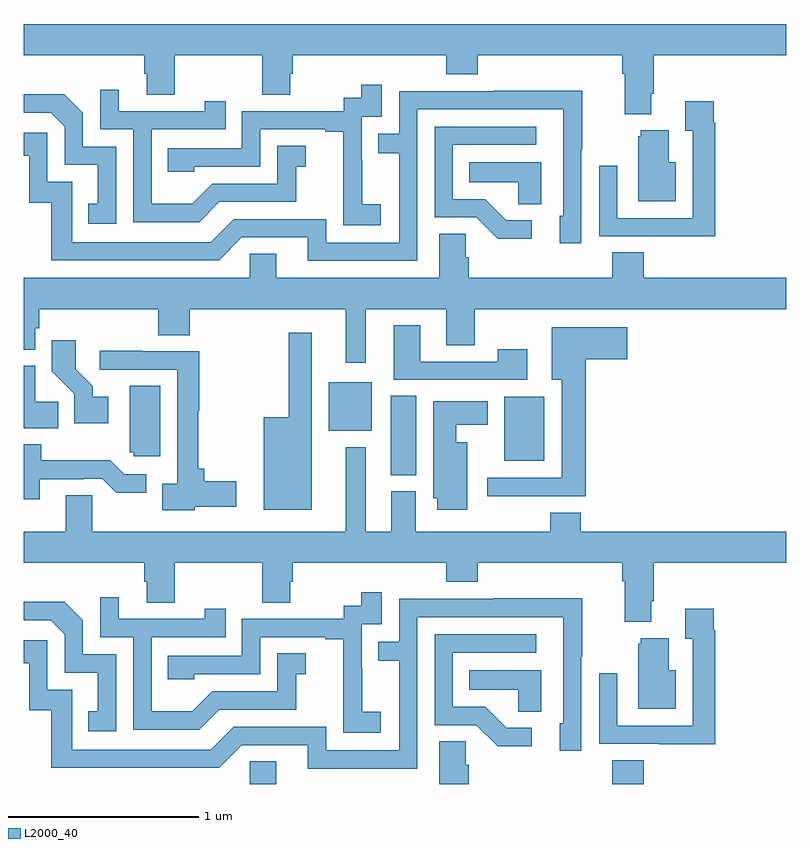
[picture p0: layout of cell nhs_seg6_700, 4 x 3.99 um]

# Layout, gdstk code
import gdstk
lib = gdstk.Library(unit=1e-6, precision=1e-09)
def R(c, l, rs):  # rectangles x0, y0, x1, y1
    for r in rs: c.add(gdstk.rectangle(r[:2], r[2:], *l))
def P(c, l, *ps):  # polygons
    for p in ps: c.add(gdstk.Polygon(p, *l))
L2000_40 = (2000, 40)

nhs_seg6_700 = lib.new_cell('nhs_seg6_700')
R(nhs_seg6_700, L2000_40, [(156.186,955.5,156.325,955.619), (158.087,955.5,158.252,955.625), (156.926,957.121,157.06,957.536), (157.52,957.197,157.732,957.532), (156.599,957.353,156.826,957.607)])
P(nhs_seg6_700, L2000_40, [(155,959.324),(155.633,959.324),(155.633,959.226),(155.645,959.226),(155.645,959.116),(155.793,959.116),(155.793,959.324),(156.25,959.324),(156.25,959.116),(156.397,959.116),(156.397,959.226),(156.41,959.226),(156.41,959.324),(157.217,959.324),(157.217,959.225),(157.382,959.225),(157.382,959.324),(158.141,959.324),(158.141,959.228),(158.153,959.228),(158.153,959.015),(158.293,959.015),(158.293,959.122),(158.306,959.122),(158.306,959.324),(159,959.324),(159,959.488),(155,959.488)],
  [(156.874,958.543),(156.776,958.543),(156.776,958.772),(156.774,958.772),(156.774,959.001),(156.879,959.001),(156.879,959.17),(156.771,959.17),(156.771,959.1),(156.678,959.1),(156.678,959.031),(156.144,959.031),(156.144,958.836),(155.755,958.836),(155.755,958.713),(155.895,958.713),(155.895,958.74),(156.24,958.74),(156.24,958.935),(156.581,958.935),(156.581,958.923),(156.677,958.923),(156.677,958.639),(156.676,958.639),(156.676,958.433),(156.874,958.433)],
  [(156.025,958.554),(156.429,958.554),(156.429,958.739),(156.478,958.739),(156.478,958.849),(156.33,958.849),(156.33,958.65),(155.988,958.65),(155.884,958.546),(155.67,958.546),(155.67,958.935),(156.059,958.935),(156.059,959.083),(155.948,959.083),(155.948,959.031),(155.497,959.031),(155.497,959.143),(155.4,959.143),(155.4,958.935),(155.574,958.935),(155.574,958.449),(155.92,958.449)],
  [(157.065,959.04),(157.83,959.04),(157.83,958.482),(157.811,958.482),(157.811,958.338),(157.926,958.338),(157.926,958.831),(157.929,958.831),(157.929,959.138),(157.465,959.138),(157.465,959.136),(156.969,959.136),(156.969,958.911),(156.859,958.911),(156.859,958.81),(156.969,958.81),(156.969,958.341),(156.588,958.341),(156.588,958.464),(156.102,958.464),(155.982,958.344),(155.253,958.344),(155.253,958.659),(155.124,958.659),(155.124,958.918),(155,958.918),(155,958.797),(155.027,958.797),(155.027,958.551),(155.145,958.551),(155.145,958.248),(156.024,958.248),(156.144,958.368),(156.491,958.368),(156.491,958.245),(157.065,958.245)],
  [(155.484,958.845),(155.31,958.845),(155.31,959.022),(155.212,959.12),(155,959.12),(155,959.022),(155.142,959.022),(155.214,958.95),(155.214,958.749),(155.387,958.749),(155.387,958.545),(155.338,958.545),(155.338,958.44),(155.484,958.44)],
  [(158.627,958.97),(158.62,958.97),(158.62,959.083),(158.471,959.083),(158.471,958.927),(158.511,958.927),(158.511,958.47),(158.115,958.47),(158.115,958.744),(158.019,958.744),(158.019,958.374),(158.335,958.374),(158.335,958.373),(158.627,958.373)],
  [(157.666,958.458),(157.531,958.458),(157.42,958.569),(157.251,958.569),(157.251,958.854),(157.69,958.854),(157.69,958.95),(157.155,958.95),(157.155,958.473),(157.374,958.473),(157.487,958.361),(157.666,958.361)],
  [(158.422,958.762),(158.383,958.762),(158.383,958.93),(158.237,958.93),(158.237,958.899),(158.225,958.899),(158.225,958.559),(158.422,958.559)],
  [(157.714,958.762),(157.336,958.762),(157.336,958.658),(157.593,958.658),(157.593,958.543),(157.714,958.543)],
  [(157.181,958.388),(157.181,958.156),(156.325,958.156),(156.325,958.283),(156.186,958.283),(156.186,958.156),(155,958.156),(155,957.779),(155.061,957.779),(155.061,957.891),(155.081,957.891),(155.081,957.992),(155.705,957.992),(155.705,957.856),(155.87,957.856),(155.87,957.992),(156.689,957.992),(156.689,957.711),(156.793,957.711),(156.793,957.992),(157.217,957.992),(157.217,957.802),(157.365,957.802),(157.365,957.992),(159,957.992),(159,958.156),(158.252,958.156),(158.252,958.289),(158.087,958.289),(158.087,958.156),(157.334,958.156),(157.334,958.265),(157.32,958.265),(157.32,958.388)],
  [(157.642,957.781),(157.486,957.781),(157.486,957.717),(157.081,957.717),(157.081,957.907),(156.941,957.907),(156.941,957.621),(157.642,957.621)],
  [(157.949,957.728),(158.167,957.728),(158.167,957.898),(157.769,957.898),(157.769,957.62),(157.823,957.62),(157.823,957.108),(157.431,957.108),(157.431,957.011),(157.949,957.011)],
  [(156.511,957.868),(156.39,957.868),(156.39,957.424),(156.26,957.424),(156.26,956.939),(156.511,956.939)],
  [(155.443,957.532),(155.362,957.532),(155.362,957.587),(155.272,957.677),(155.272,957.829),(155.146,957.829),(155.146,957.666),(155.265,957.547),(155.265,957.392),(155.443,957.392)],
  [(155.898,956.954),(156.115,956.954),(156.115,957.089),(155.946,957.089),(155.946,957.154),(155.914,957.154),(155.914,957.459),(155.921,957.459),(155.921,957.771),(155.621,957.771),(155.621,957.774),(155.397,957.774),(155.397,957.675),(155.805,957.675),(155.805,957.076),(155.726,957.076),(155.726,956.936),(155.898,956.936)],
  [(155.18,957.506),(155.059,957.506),(155.059,957.694),(155,957.694),(155,957.368),(155.18,957.368)],
  [(155.716,957.589),(155.555,957.589),(155.555,957.24),(155.577,957.24),(155.577,957.219),(155.716,957.219)],
  [(157.327,957.292),(157.27,957.292),(157.27,957.386),(157.435,957.386),(157.435,957.508),(157.148,957.508),(157.148,957),(157.169,957),(157.169,956.94),(157.327,956.94)],
  [(155.083,957.099),(155.312,957.099),(155.312,957.102),(155.412,957.102),(155.485,957.029),(155.641,957.029),(155.641,957.126),(155.526,957.126),(155.453,957.199),(155.091,957.199),(155.091,957.283),(155,957.283),(155,956.994),(155.083,956.994)],
  [(158.293,956.458),(158.306,956.458),(158.306,956.66),(159,956.66),(159,956.824),(157.922,956.824),(157.922,956.923),(157.762,956.923),(157.762,956.824),(157.057,956.824),(157.057,957.036),(156.929,957.036),(156.929,956.824),(156.793,956.824),(156.793,957.268),(156.689,957.268),(156.689,956.824),(155.358,956.824),(155.358,957.014),(155.219,957.014),(155.219,956.824),(155,956.824),(155,956.66),(155.633,956.66),(155.633,956.562),(155.645,956.562),(155.645,956.452),(155.793,956.452),(155.793,956.66),(156.25,956.66),(156.25,956.452),(156.397,956.452),(156.397,956.562),(156.41,956.562),(156.41,956.66),(157.217,956.66),(157.217,956.561),(157.382,956.561),(157.382,956.66),(158.141,956.66),(158.141,956.564),(158.153,956.564),(158.153,956.351),(158.293,956.351)],
  [(156.874,955.879),(156.776,955.879),(156.776,956.108),(156.774,956.108),(156.774,956.337),(156.879,956.337),(156.879,956.506),(156.771,956.506),(156.771,956.436),(156.678,956.436),(156.678,956.367),(156.144,956.367),(156.144,956.172),(155.755,956.172),(155.755,956.049),(155.895,956.049),(155.895,956.076),(156.24,956.076),(156.24,956.271),(156.581,956.271),(156.581,956.259),(156.677,956.259),(156.677,955.975),(156.676,955.975),(156.676,955.769),(156.874,955.769)],
  [(156.025,955.89),(156.429,955.89),(156.429,956.075),(156.478,956.075),(156.478,956.185),(156.33,956.185),(156.33,955.986),(155.988,955.986),(155.884,955.882),(155.67,955.882),(155.67,956.271),(156.059,956.271),(156.059,956.419),(155.948,956.419),(155.948,956.367),(155.497,956.367),(155.497,956.479),(155.4,956.479),(155.4,956.271),(155.574,956.271),(155.574,955.785),(155.92,955.785)],
  [(157.065,956.376),(157.83,956.376),(157.83,955.818),(157.811,955.818),(157.811,955.674),(157.926,955.674),(157.926,956.167),(157.929,956.167),(157.929,956.474),(157.465,956.474),(157.465,956.472),(156.969,956.472),(156.969,956.247),(156.859,956.247),(156.859,956.146),(156.969,956.146),(156.969,955.677),(156.588,955.677),(156.588,955.8),(156.102,955.8),(155.982,955.68),(155.253,955.68),(155.253,955.995),(155.124,955.995),(155.124,956.254),(155,956.254),(155,956.133),(155.027,956.133),(155.027,955.887),(155.145,955.887),(155.145,955.584),(156.024,955.584),(156.144,955.704),(156.491,955.704),(156.491,955.581),(157.065,955.581)],
  [(155.484,956.181),(155.31,956.181),(155.31,956.358),(155.212,956.456),(155,956.456),(155,956.358),(155.142,956.358),(155.214,956.286),(155.214,956.085),(155.387,956.085),(155.387,955.881),(155.338,955.881),(155.338,955.776),(155.484,955.776)],
  [(158.627,956.306),(158.62,956.306),(158.62,956.419),(158.471,956.419),(158.471,956.263),(158.511,956.263),(158.511,955.806),(158.115,955.806),(158.115,956.08),(158.019,956.08),(158.019,955.71),(158.335,955.71),(158.335,955.709),(158.627,955.709)],
  [(157.666,955.794),(157.531,955.794),(157.42,955.905),(157.251,955.905),(157.251,956.19),(157.69,956.19),(157.69,956.286),(157.155,956.286),(157.155,955.809),(157.374,955.809),(157.487,955.697),(157.666,955.697)],
  [(158.422,956.098),(158.383,956.098),(158.383,956.266),(158.237,956.266),(158.237,956.235),(158.225,956.235),(158.225,955.895),(158.422,955.895)],
  [(157.714,956.098),(157.336,956.098),(157.336,955.994),(157.593,955.994),(157.593,955.879),(157.714,955.879)],
  [(157.181,955.5),(157.334,955.5),(157.334,955.601),(157.32,955.601),(157.32,955.724),(157.181,955.724)])

lib.write_gds('nhs_seg6_700.gds')
